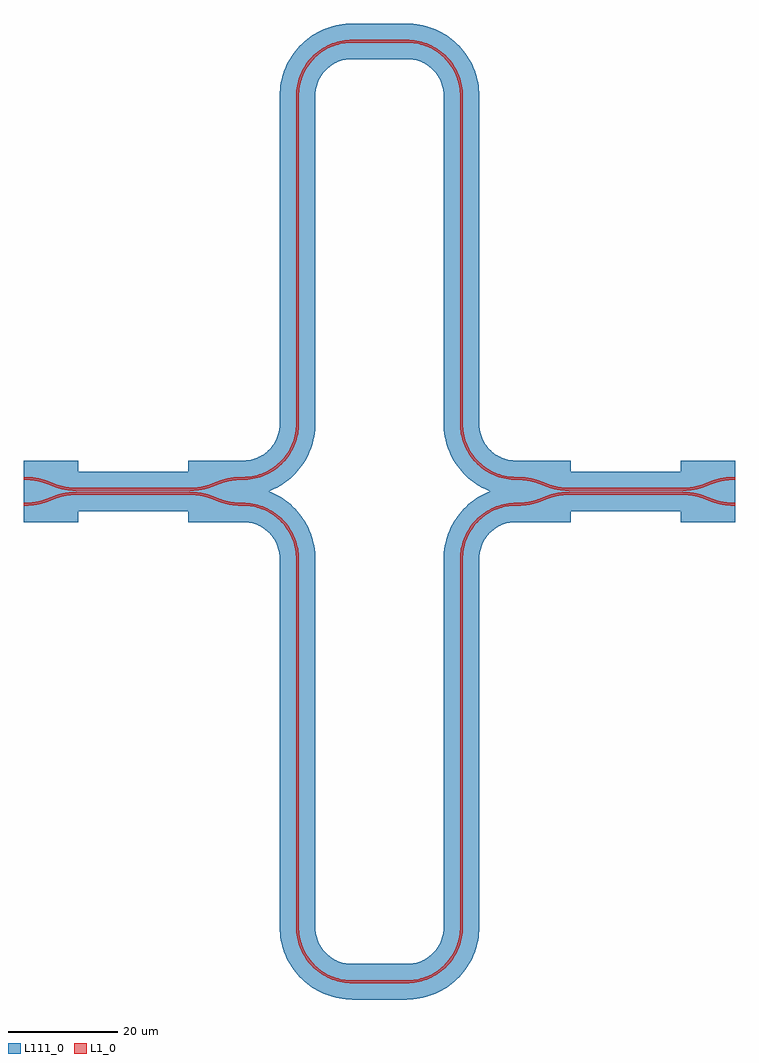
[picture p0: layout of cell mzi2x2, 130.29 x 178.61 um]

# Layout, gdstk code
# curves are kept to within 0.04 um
import gdstk
lib = gdstk.Library(unit=1e-6, precision=1e-09)
def R(c, l, rs):  # rectangles x0, y0, x1, y1
    for r in rs: c.add(gdstk.rectangle(r[:2], r[2:], *l))
def P(c, l, *ps):  # polygons
    for p in ps: c.add(gdstk.Polygon(p, *l))
L1_0 = (1, 0)
L111_0 = (111, 0)

mzi2x2 = lib.new_cell('mzi2x2')
R(mzi2x2, L1_0, [(20,-92.364,30,-91.864), (9.75,-82.114,10.25,-22.114), (39.75,-82.114,40.25,-22.114), (9.75,-22.114,10.25,-14.734), (39.75,-22.114,40.25,-14.734), (-30.147,-2.984,-10,-2.484), (60,-2.984,80.147,-2.484), (-30.147,-2.25,-10,-1.75), (60,-2.25,80.147,-1.75), (9.75,10,10.25,70), (39.75,10,40.25,70), (20,79.75,30,80.25)])
P(mzi2x2, L1_0, [(-30.147,-2.984),(-31.75,-3.065),(-33.011,-3.278),(-34.127,-3.61),(-36.252,-4.416),(-37.473,-4.743),(-38.74,-4.925),(-40.147,-4.984),(-40.147,-4.484),(-38.544,-4.403),(-37.283,-4.19),(-36.167,-3.858),(-34.042,-3.052),(-32.821,-2.725),(-31.554,-2.543),(-30.147,-2.484)],
  [(-30.147,-1.75),(-31.75,-1.669),(-33.011,-1.456),(-34.127,-1.124),(-36.252,-0.318),(-37.473,0.009),(-38.74,0.191),(-40.147,0.25),(-40.147,-0.25),(-38.544,-0.331),(-37.283,-0.544),(-36.167,-0.876),(-34.042,-1.682),(-32.821,-2.009),(-31.554,-2.191),(-30.147,-2.25)],
  [(-10,-1.75),(-8.397,-1.669),(-7.136,-1.456),(-6.02,-1.124),(-3.895,-0.318),(-2.674,0.009),(-1.407,0.191),(0,0.25),(0,-0.25),(-1.603,-0.331),(-2.864,-0.544),(-3.98,-0.876),(-6.105,-1.682),(-7.326,-2.009),(-8.593,-2.191),(-10,-2.25)],
  [(-10,-2.984),(-8.397,-3.065),(-7.136,-3.278),(-6.02,-3.61),(-3.895,-4.416),(-2.674,-4.743),(-1.407,-4.925),(0,-4.984),(0,-4.484),(-1.603,-4.403),(-2.864,-4.19),(-3.98,-3.858),(-6.105,-3.052),(-7.326,-2.725),(-8.593,-2.543),(-10,-2.484)],
  [(9.75,10),(9.593,8.259),(9.128,6.574),(8.37,4.999),(7.623,3.921),(7.047,3.262),(5.731,2.112),(4.23,1.216),(3.013,0.727),(2.17,0.494),(0.874,0.289),(0,0.25),(0,-0.25),(0.919,-0.209),(2.281,0.007),(3.167,0.252),(4.029,0.575),(4.857,0.974),(5.647,1.446),(6.391,1.986),(7.409,2.917),(8.014,3.609),(8.799,4.743),(9.425,5.971),(9.748,6.833),(9.993,7.719),(10.157,8.624),(10.25,10)],
  [(10.25,70),(10.407,71.741),(10.872,73.426),(11.63,75.001),(12.377,76.079),(12.953,76.738),(14.269,77.888),(15.77,78.784),(16.987,79.273),(17.83,79.506),(19.126,79.711),(20,79.75),(20,80.25),(19.081,80.209),(17.719,79.993),(16.833,79.748),(15.971,79.425),(15.143,79.026),(14.353,78.554),(13.609,78.014),(12.591,77.083),(11.986,76.391),(11.201,75.257),(10.575,74.029),(10.252,73.167),(10.007,72.281),(9.843,71.376),(9.75,70)],
  [(30,79.75),(31.741,79.593),(33.426,79.128),(35.001,78.37),(36.079,77.623),(36.738,77.047),(37.888,75.731),(38.784,74.23),(39.273,73.013),(39.506,72.17),(39.711,70.874),(39.75,70),(40.25,70),(40.209,70.919),(39.993,72.281),(39.748,73.167),(39.425,74.029),(39.026,74.857),(38.554,75.647),(38.014,76.391),(37.083,77.409),(36.391,78.014),(35.257,78.799),(34.029,79.425),(33.167,79.748),(32.281,79.993),(31.376,80.157),(30,80.25)],
  [(50,0.25),(48.259,0.407),(46.574,0.872),(44.999,1.63),(43.921,2.377),(43.262,2.953),(42.112,4.269),(41.216,5.77),(40.727,6.987),(40.494,7.83),(40.289,9.126),(40.25,10),(39.75,10),(39.791,9.081),(40.007,7.719),(40.252,6.833),(40.575,5.971),(40.974,5.143),(41.446,4.353),(41.986,3.609),(42.917,2.591),(43.609,1.986),(44.743,1.201),(45.971,0.575),(46.833,0.252),(47.719,0.007),(48.624,-0.157),(50,-0.25)],
  [(60,-2.984),(58.397,-3.065),(57.136,-3.278),(56.02,-3.61),(53.895,-4.416),(52.674,-4.743),(51.407,-4.925),(50,-4.984),(50,-4.484),(51.603,-4.403),(52.864,-4.19),(53.98,-3.858),(56.105,-3.052),(57.326,-2.725),(58.593,-2.543),(60,-2.484)],
  [(60,-1.75),(58.397,-1.669),(57.136,-1.456),(56.02,-1.124),(53.895,-0.318),(52.674,0.009),(51.407,0.191),(50,0.25),(50,-0.25),(51.603,-0.331),(52.864,-0.544),(53.98,-0.876),(56.105,-1.682),(57.326,-2.009),(58.593,-2.191),(60,-2.25)],
  [(80.147,-1.75),(81.75,-1.669),(83.011,-1.456),(84.127,-1.124),(86.252,-0.318),(87.473,0.009),(88.74,0.191),(90.147,0.25),(90.147,-0.25),(88.544,-0.331),(87.283,-0.544),(86.167,-0.876),(84.042,-1.682),(82.821,-2.009),(81.554,-2.191),(80.147,-2.25)],
  [(80.147,-2.984),(81.75,-3.065),(83.011,-3.278),(84.127,-3.61),(86.252,-4.416),(87.473,-4.743),(88.74,-4.925),(90.147,-4.984),(90.147,-4.484),(88.544,-4.403),(87.283,-4.19),(86.167,-3.858),(84.042,-3.052),(82.821,-2.725),(81.554,-2.543),(80.147,-2.484)],
  [(9.75,-14.734),(9.593,-12.993),(9.128,-11.308),(8.37,-9.733),(7.623,-8.655),(7.047,-7.996),(5.731,-6.846),(4.23,-5.95),(3.013,-5.461),(2.17,-5.228),(0.874,-5.023),(0,-4.984),(0,-4.484),(0.919,-4.525),(2.281,-4.741),(3.167,-4.986),(4.029,-5.309),(4.857,-5.708),(5.647,-6.18),(6.391,-6.72),(7.409,-7.651),(8.014,-8.343),(8.799,-9.477),(9.425,-10.705),(9.748,-11.567),(9.993,-12.453),(10.157,-13.358),(10.25,-14.734)],
  [(10.25,-82.114),(10.407,-83.855),(10.872,-85.54),(11.63,-87.115),(12.377,-88.193),(12.953,-88.852),(14.269,-90.002),(15.77,-90.898),(16.987,-91.387),(17.83,-91.62),(19.126,-91.825),(20,-91.864),(20,-92.364),(19.081,-92.323),(17.719,-92.107),(16.833,-91.862),(15.971,-91.539),(15.143,-91.14),(14.353,-90.668),(13.609,-90.128),(12.591,-89.197),(11.986,-88.505),(11.201,-87.371),(10.575,-86.143),(10.252,-85.281),(10.007,-84.395),(9.843,-83.49),(9.75,-82.114)],
  [(30,-91.864),(31.741,-91.707),(33.426,-91.242),(35.001,-90.484),(36.079,-89.737),(36.738,-89.161),(37.888,-87.845),(38.784,-86.344),(39.273,-85.127),(39.506,-84.284),(39.711,-82.988),(39.75,-82.114),(40.25,-82.114),(40.209,-83.033),(39.993,-84.395),(39.748,-85.281),(39.425,-86.143),(39.026,-86.971),(38.554,-87.761),(38.014,-88.505),(37.083,-89.523),(36.391,-90.128),(35.257,-90.913),(34.029,-91.539),(33.167,-91.862),(32.281,-92.107),(31.376,-92.271),(30,-92.364)],
  [(50,-4.984),(48.259,-5.141),(46.574,-5.606),(44.999,-6.364),(43.921,-7.111),(43.262,-7.687),(42.112,-9.003),(41.216,-10.504),(40.727,-11.721),(40.494,-12.564),(40.289,-13.86),(40.25,-14.734),(39.75,-14.734),(39.791,-13.815),(40.007,-12.453),(40.252,-11.567),(40.575,-10.705),(40.974,-9.877),(41.446,-9.087),(41.986,-8.343),(42.917,-7.325),(43.609,-6.72),(44.743,-5.935),(45.971,-5.309),(46.833,-4.986),(47.719,-4.741),(48.624,-4.577),(50,-4.484)])
R(mzi2x2, L111_0, [(20,-95.364,30,-88.864), (6.75,-82.114,13.25,-22.114), (36.75,-82.114,43.25,-22.114), (6.75,-22.114,13.25,-14.734), (36.75,-22.114,43.25,-14.734), (-40.147,-7.984,-30.147,0.516), (-10,-7.984,0,0.516), (50,-7.984,60,0.516), (80.147,-7.984,90.147,0.516), (-30.147,-5.984,-10,1.25), (60,-5.984,80.147,1.25), (-40.147,-5.25,-30.147,3.25), (-10,-5.25,0,3.25), (50,-5.25,60,3.25), (80.147,-5.25,90.147,3.25), (6.75,10,13.25,70), (36.75,10,43.25,70), (20,76.75,30,83.25)])
P(mzi2x2, L111_0, [(6.75,10),(6.642,8.795),(6.32,7.628),(5.795,6.538),(5.461,6.032),(4.879,5.335),(3.968,4.539),(3.462,4.205),(2.653,3.793),(2.086,3.58),(1.205,3.358),(0,3.25),(0,-3.25),(1.779,-3.13),(3.525,-2.773),(5.208,-2.184),(6.796,-1.374),(8.261,-0.359),(9.577,0.843),(10.719,2.212),(11.668,3.721),(12.184,4.792),(12.773,6.475),(13.13,8.221),(13.25,10)],
  [(13.25,70),(13.358,71.205),(13.68,72.372),(14.205,73.462),(14.539,73.968),(15.121,74.665),(16.032,75.461),(16.538,75.795),(17.347,76.207),(17.914,76.42),(18.795,76.642),(20,76.75),(20,83.25),(18.221,83.13),(16.475,82.773),(14.792,82.184),(13.204,81.374),(11.739,80.359),(10.423,79.157),(9.281,77.788),(8.332,76.279),(7.816,75.208),(7.227,73.525),(6.87,71.779),(6.75,70)],
  [(30,76.75),(31.205,76.642),(32.372,76.32),(33.462,75.795),(33.968,75.461),(34.665,74.879),(35.461,73.968),(35.795,73.462),(36.207,72.653),(36.42,72.086),(36.642,71.205),(36.75,70),(43.25,70),(43.13,71.779),(42.773,73.525),(42.184,75.208),(41.374,76.796),(40.359,78.261),(39.157,79.577),(37.788,80.719),(36.279,81.668),(35.208,82.184),(33.525,82.773),(31.779,83.13),(30,83.25)],
  [(50,3.25),(48.795,3.358),(47.628,3.68),(46.538,4.205),(46.032,4.539),(45.335,5.121),(44.539,6.032),(44.205,6.538),(43.793,7.347),(43.58,7.914),(43.358,8.795),(43.25,10),(36.75,10),(36.87,8.221),(37.227,6.475),(37.816,4.792),(38.626,3.204),(39.641,1.739),(40.843,0.423),(42.212,-0.719),(43.721,-1.668),(44.792,-2.184),(46.475,-2.773),(48.221,-3.13),(50,-3.25)],
  [(6.75,-14.734),(6.642,-13.529),(6.32,-12.362),(5.795,-11.272),(5.461,-10.766),(4.879,-10.069),(3.968,-9.273),(3.462,-8.939),(2.653,-8.527),(2.086,-8.314),(1.205,-8.092),(0,-7.984),(0,-1.484),(1.779,-1.604),(3.525,-1.961),(5.208,-2.55),(6.796,-3.36),(8.261,-4.375),(9.577,-5.577),(10.719,-6.946),(11.668,-8.455),(12.184,-9.526),(12.773,-11.209),(13.13,-12.955),(13.25,-14.734)],
  [(13.25,-82.114),(13.358,-83.319),(13.68,-84.486),(14.205,-85.576),(14.539,-86.082),(15.121,-86.779),(16.032,-87.575),(16.538,-87.909),(17.347,-88.321),(17.914,-88.534),(18.795,-88.756),(20,-88.864),(20,-95.364),(18.221,-95.244),(16.475,-94.887),(14.792,-94.298),(13.204,-93.488),(11.739,-92.473),(10.423,-91.271),(9.281,-89.902),(8.332,-88.393),(7.816,-87.322),(7.227,-85.639),(6.87,-83.893),(6.75,-82.114)],
  [(30,-88.864),(31.205,-88.756),(32.372,-88.434),(33.462,-87.909),(33.968,-87.575),(34.665,-86.993),(35.461,-86.082),(35.795,-85.576),(36.207,-84.767),(36.42,-84.2),(36.642,-83.319),(36.75,-82.114),(43.25,-82.114),(43.13,-83.893),(42.773,-85.639),(42.184,-87.322),(41.374,-88.91),(40.359,-90.375),(39.157,-91.691),(37.788,-92.833),(36.279,-93.782),(35.208,-94.298),(33.525,-94.887),(31.779,-95.244),(30,-95.364)],
  [(50,-7.984),(48.795,-8.092),(47.628,-8.414),(46.538,-8.939),(46.032,-9.273),(45.335,-9.855),(44.539,-10.766),(44.205,-11.272),(43.793,-12.081),(43.58,-12.648),(43.358,-13.529),(43.25,-14.734),(36.75,-14.734),(36.87,-12.955),(37.227,-11.209),(37.816,-9.526),(38.626,-7.938),(39.641,-6.473),(40.843,-5.157),(42.212,-4.015),(43.721,-3.066),(44.792,-2.55),(46.475,-1.961),(48.221,-1.604),(50,-1.484)])

lib.write_gds('mzi2x2.gds')
